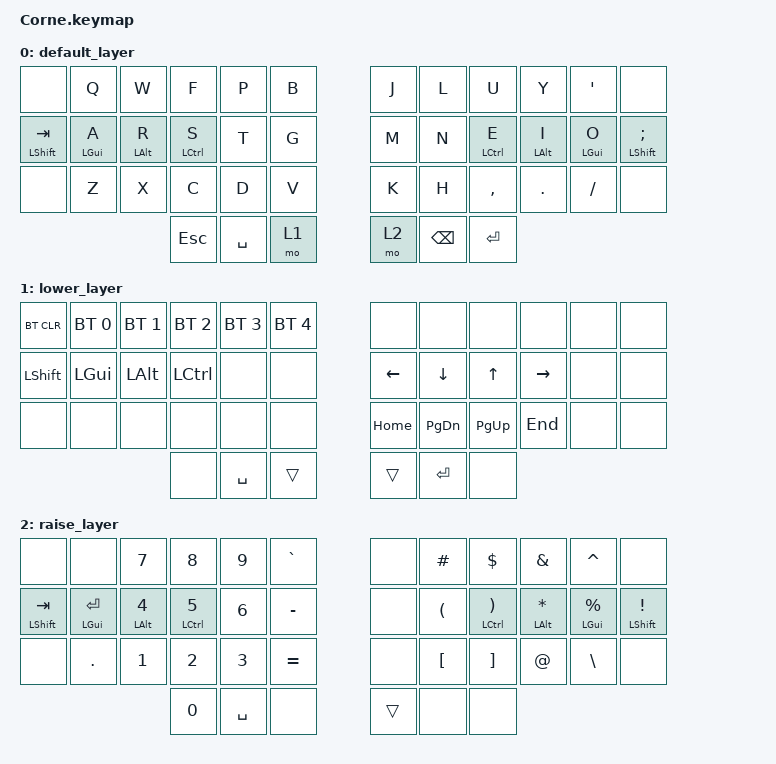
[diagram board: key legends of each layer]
/*
 * Copyright (c) 2020 The ZMK Contributors
 *
 * SPDX-License-Identifier: MIT
 */

#include <behaviors.dtsi>
#include <dt-bindings/zmk/keys.h>
#include <dt-bindings/zmk/bt.h>
#include <dt-bindings/zmk/behaviors.h>

/ {
    behaviors {
        bhm: balanced_homerow_mods {
            compatible = "zmk,behavior-hold-tap";
            #binding-cells = <2>;
            tapping-term-ms = <200>;    // <---[[moderate duration]]
            quick-tap-ms = <0>;
            flavor = "balanced";
            bindings = <&kp>, <&kp>;
        };
    };
};

/ {
        keymap {
                compatible = "zmk,keymap";

                default_layer {
// -----------------------------------------------------------------------------------------
// |  none  |   Q  |   W  |   F  |  P  |  B  |   |  J  |  L  |   U  |   Y  |   '  | none |
// | S(TAB) | G(A) | A(R) | C(S) |  T  |  G  |   |  M  |  N  | C(E) | A(I) | G(O) | S(;) |
// | none   |   Z  |   X  |   C  |  D  |  V  |   |  K  |  H  |   ,  |   .  |   /  | none |
//                        | ESC | SPC | LWR |   | RSE | BSPC | ENT |
                        bindings = <
   &none           &kp Q        &kp W        &kp F         &kp P      &kp B     &kp J  &kp L     &kp U         &kp Y        &kp SQT      &none 
   &bhm LSHFT TAB  &bhm LGUI A  &bhm LALT R  &bhm LCTRL S  &kp T      &kp G     &kp M  &kp N     &bhm LCTRL E  &bhm LALT I  &bhm LGUI O  &bhm LSHFT SEMI
   &none           &kp Z        &kp X        &kp C         &kp D      &kp V     &kp K  &kp H     &kp COMMA     &kp DOT      &kp FSLH     &none
                                             &kp ESC       &kp SPACE  &mo 1     &mo 2  &kp BSPC  &kp RETURN
                        >;
                        };
                lower_layer {
// -----------------------------------------------------------------------------------------
// | BTCLR| BT1  | BT2  | BT3  | BT4  | BT5  |   | none | none | none | none | none | none |
// |LSHFT | LGUI | LALT | LCTRL| none | none |   | LFT  | DWN  |  UP  | RGT  | none | none |
// | none | none | none | none | none | none |   | HOME | PGDN | PGUP | END  | none | none |
//                        | none | SPC |     |   |      | ENT  | none |
                        bindings = <
   &bt BT_CLR &bt BT_SEL 0 &bt BT_SEL 1 &bt BT_SEL 2 &bt BT_SEL 3 &bt BT_SEL 4   &none    &none     &none     &none      &none &none
   &kp LSHFT  &kp LGUI     &kp LALT     &kp LCTRL    &none        &none          &kp LEFT &kp DOWN  &kp UP    &kp RIGHT  &none &none
   &none      &none        &none        &none        &none        &none          &kp HOME &kp PG_DN &kp PG_UP &kp END    &none &none
                                        &none        &kp SPACE    &trans         &trans   &kp RET   &none
                        >;
                };

                raise_layer {
// -----------------------------------------------------------------------------------------
// | none   | none   |  7   |   8  |  9  | `  ~ |  | none |  #   |    $   |   &    |   ^     | none |
// | S(tab) | G(ent) | A(4) | C(5) |  6  | -  _ |  | none |  (   | C(')') | A('*') | G('%')  | S('!')  |
// | none   | dot    |  1   |   2  |  3  | =  + |  | none | [  { |  }  ]  |   @    | \  |    | none |
//                          | 0 | SPACE | none |  |      | none | none |
                        bindings = <
   &none          &none            &kp N7       &kp N8         &kp N9     &kp GRAVE       &none  &kp HASH &kp DLLR        &kp AMPS       &kp CARET         &none
   &bhm LSHFT TAB &bhm LGUI RETURN &bhm LALT N4 &bhm LCTRL N5  &kp N6     &kp MINUS       &none  &kp LPAR &bhm LCTRL RPAR &bhm LALT STAR &bhm LGUI PERCENT &bhm LSHFT EXCL
   &none          &kp DOT          &kp N1       &kp N2         &kp N3     &kp EQUAL       &none  &kp LBKT &kp RBKT        &kp AT         &kp BSLH          &none
                                                &kp N0         &kp SPACE  &none           &trans &none    &none
                        >;
                };
        };
};
